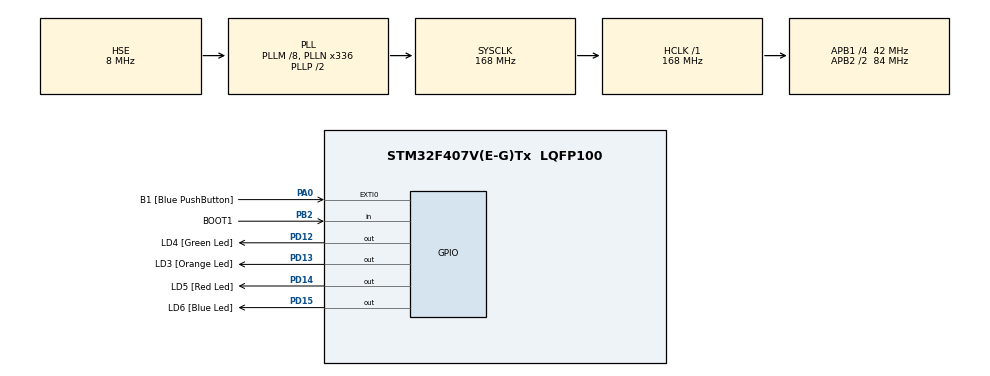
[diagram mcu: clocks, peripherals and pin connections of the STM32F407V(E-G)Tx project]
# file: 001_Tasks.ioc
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Mcu.Family=STM32F4
Mcu.Name=STM32F407V(E-G)Tx
Mcu.Package=LQFP100
NVIC.PriorityGroup=NVIC_PRIORITYGROUP_4
NVIC.TIM6_DAC_IRQn=true\:0\:0\:false\:false\:true\:false\:true\:true
NVIC.TimeBase=TIM6_DAC_IRQn
NVIC.TimeBaseIP=TIM6
PA0-WKUP.GPIO_Label=B1 [Blue PushButton]
PA0-WKUP.GPIO_ModeDefaultEXTI=GPIO_MODE_EVT_RISING
PA0-WKUP.GPIO_PuPd=GPIO_NOPULL
PA0-WKUP.Signal=GPXTI0
PA13.GPIO_Label=SWDIO
PA13.Mode=Trace_Asynchronous_SW
PA13.Signal=SYS_JTMS-SWDIO
PA14.GPIO_Label=SWCLK
PA14.Mode=Trace_Asynchronous_SW
PA14.Signal=SYS_JTCK-SWCLK
PB2.GPIO_Label=BOOT1
PB2.GPIO_Mode=GPIO_MODE_INPUT
PB2.GPIO_PuPd=GPIO_NOPULL
PB2.Signal=GPIO_Input
PB3.GPIO_Label=SWO
PB3.Mode=Trace_Asynchronous_SW
PB3.Signal=SYS_JTDO-SWO
PC14-OSC32_IN.GPIO_Label=PC14-OSC32_IN
PC14-OSC32_IN.Mode=LSE-External-Oscillator
PC14-OSC32_IN.Signal=RCC_OSC32_IN
PC15-OSC32_OUT.GPIO_Label=PC15-OSC32_OUT
PC15-OSC32_OUT.Mode=LSE-External-Oscillator
PC15-OSC32_OUT.Signal=RCC_OSC32_OUT
PD12.GPIO_Label=LD4 [Green Led]
PD12.GPIO_PuPd=GPIO_NOPULL
PD12.GPIO_Speed=GPIO_SPEED_FREQ_LOW
PD12.Signal=GPIO_Output
PD13.GPIO_Label=LD3 [Orange Led]
PD13.GPIO_PuPd=GPIO_NOPULL
PD13.GPIO_Speed=GPIO_SPEED_FREQ_LOW
PD13.Signal=GPIO_Output
PD14.GPIO_Label=LD5 [Red Led]
PD14.GPIO_PuPd=GPIO_NOPULL
PD14.GPIO_Speed=GPIO_SPEED_FREQ_LOW
PD14.Signal=GPIO_Output
PD15.GPIO_Label=LD6 [Blue Led]
PD15.GPIO_PuPd=GPIO_NOPULL
PD15.GPIO_Speed=GPIO_SPEED_FREQ_LOW
PD15.Signal=GPIO_Output
PH0-OSC_IN.GPIO_Label=PH0-OSC_IN
PH0-OSC_IN.Mode=HSE-External-Oscillator
PH0-OSC_IN.Signal=RCC_OSC_IN
PH1-OSC_OUT.GPIO_Label=PH1-OSC_OUT
PH1-OSC_OUT.Mode=HSE-External-Oscillator
PH1-OSC_OUT.Signal=RCC_OSC_OUT
ProjectManager.HeapSize=0x200
ProjectManager.StackSize=0x400
ProjectManager.TargetToolchain=CMake
RCC.48MHZClocksFreq_Value=48000000
RCC.AHBFreq_Value=168000000
RCC.APB1CLKDivider=RCC_HCLK_DIV4
RCC.APB1Freq_Value=42000000
RCC.APB1TimFreq_Value=84000000
RCC.APB2CLKDivider=RCC_HCLK_DIV2
RCC.APB2Freq_Value=84000000
RCC.APB2TimFreq_Value=168000000
RCC.CortexFreq_Value=168000000
RCC.HCLKFreq_Value=168000000
RCC.HSE_VALUE=8000000
RCC.HSI_VALUE=16000000
RCC.PLLM=8
RCC.PLLN=336
RCC.PLLQ=7
RCC.PLLSourceVirtual=RCC_PLLSOURCE_HSE
RCC.SYSCLKFreq_VALUE=168000000
RCC.SYSCLKSource=RCC_SYSCLKSOURCE_PLLCLK
RCC.VCOOutputFreq_Value=336000000
VP_SYS_VS_tim6.Mode=TIM6
board=STM32F407G-DISC1

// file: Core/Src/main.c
/* USER CODE BEGIN Header */
/**
  ******************************************************************************
  * @file           : main.c
  * @brief          : Main program body
  ******************************************************************************
  * @attention
  *
  * Copyright (c) 2026 STMicroelectronics.
  * All rights reserved.
  *
  * This software is licensed under terms that can be found in the LICENSE file
  * in the root directory of this software component.
  * If no LICENSE file comes with this software, it is provided AS-IS.
  *
  ******************************************************************************
  */
/* USER CODE END Header */
#include "main.h"

/* USER CODE BEGIN Includes */
#include <stdio.h>
#include "FreeRTOS.h"
#include "task.h"
/* USER CODE END Includes */

void SystemClock_Config(void);
static void MX_GPIO_Init(void);
/* USER CODE BEGIN PFP */
static void task1_handler(void* params);
static void task2_handler(void* params);
/* USER CODE END PFP */

int main(void)
{

  /* USER CODE BEGIN 1 */
  TaskHandle_t task1_handle;
  TaskHandle_t task2_handle;
  BaseType_t status = pdFALSE;
  /* USER CODE END 1 */

  /* MCU Configuration--------------------------------------------------------*/

  /* Reset of all peripherals, Initializes the Flash interface and the Systick. */
  HAL_Init();

  /* Configure the system clock */
  SystemClock_Config();

  /* USER CODE BEGIN SysInit */
  DWT->CTRL |= ( 1 << 0);
  /* USER CODE END SysInit */

  /* Initialize all configured peripherals */
  MX_GPIO_Init();
  /* USER CODE BEGIN 2 */

  SEGGER_SYSVIEW_Conf();
  SEGGER_SYSVIEW_Start();

  status = xTaskCreate(task1_handler, "Task1", 200, "Hello world from Task-1", 2, &task1_handle);
  configASSERT(status == pdPASS);

  status = xTaskCreate(task2_handler, "Task2", 200, "Hello world from Task-2", 2, &task2_handle);
  configASSERT(status == pdPASS);

  // Start the FreeRTOS scheduler
  vTaskStartScheduler();
  // We will never return unless there is insufficient memory in the heap.

  /* USER CODE END 2 */

  /* Infinite loop */
  while (1)
  {

  }
}

void SystemClock_Config(void)
{
  RCC_OscInitTypeDef RCC_OscInitStruct = {0};
  RCC_ClkInitTypeDef RCC_ClkInitStruct = {0};

  /** Configure the main internal regulator output voltage
  */
  __HAL_RCC_PWR_CLK_ENABLE();
  __HAL_PWR_VOLTAGESCALING_CONFIG(PWR_REGULATOR_VOLTAGE_SCALE1);

  /** Initializes the RCC Oscillators according to the specified parameters
  * in the RCC_OscInitTypeDef structure.
  */
  RCC_OscInitStruct.OscillatorType = RCC_OSCILLATORTYPE_HSE;
  RCC_OscInitStruct.HSEState = RCC_HSE_ON;
  RCC_OscInitStruct.PLL.PLLState = RCC_PLL_ON;
  RCC_OscInitStruct.PLL.PLLSource = RCC_PLLSOURCE_HSE;
  RCC_OscInitStruct.PLL.PLLM = 8;
  RCC_OscInitStruct.PLL.PLLN = 336;
  RCC_OscInitStruct.PLL.PLLP = RCC_PLLP_DIV2;
  RCC_OscInitStruct.PLL.PLLQ = 7;
  if (HAL_RCC_OscConfig(&RCC_OscInitStruct) != HAL_OK)
  {
    Error_Handler();
  }

  /** Initializes the CPU, AHB and APB buses clocks
  */
  RCC_ClkInitStruct.ClockType = RCC_CLOCKTYPE_HCLK|RCC_CLOCKTYPE_SYSCLK
                              |RCC_CLOCKTYPE_PCLK1|RCC_CLOCKTYPE_PCLK2;
  RCC_ClkInitStruct.SYSCLKSource = RCC_SYSCLKSOURCE_PLLCLK;
  RCC_ClkInitStruct.AHBCLKDivider = RCC_SYSCLK_DIV1;
  RCC_ClkInitStruct.APB1CLKDivider = RCC_HCLK_DIV4;
  RCC_ClkInitStruct.APB2CLKDivider = RCC_HCLK_DIV2;

  if (HAL_RCC_ClockConfig(&RCC_ClkInitStruct, FLASH_LATENCY_5) != HAL_OK)
  {
    Error_Handler();
  }
}

static void MX_GPIO_Init(void)
{
  GPIO_InitTypeDef GPIO_InitStruct = {0};

  /* GPIO Ports Clock Enable */
  __HAL_RCC_GPIOC_CLK_ENABLE();
  __HAL_RCC_GPIOH_CLK_ENABLE();
  __HAL_RCC_GPIOA_CLK_ENABLE();
  __HAL_RCC_GPIOB_CLK_ENABLE();
  __HAL_RCC_GPIOD_CLK_ENABLE();

  /*Configure GPIO pin Output Level */
  HAL_GPIO_WritePin(GPIOD, LD4_Pin|LD3_Pin|LD5_Pin|LD6_Pin, GPIO_PIN_RESET);

  /*Configure GPIO pin : B1_Pin */
  GPIO_InitStruct.Pin = B1_Pin;
  GPIO_InitStruct.Mode = GPIO_MODE_EVT_RISING;
  GPIO_InitStruct.Pull = GPIO_NOPULL;
  HAL_GPIO_Init(B1_GPIO_Port, &GPIO_InitStruct);

  /*Configure GPIO pin : BOOT1_Pin */
  GPIO_InitStruct.Pin = BOOT1_Pin;
  GPIO_InitStruct.Mode = GPIO_MODE_INPUT;
  GPIO_InitStruct.Pull = GPIO_NOPULL;
  HAL_GPIO_Init(BOOT1_GPIO_Port, &GPIO_InitStruct);

  /*Configure GPIO pins : LD4_Pin LD3_Pin LD5_Pin LD6_Pin */
  GPIO_InitStruct.Pin = LD4_Pin|LD3_Pin|LD5_Pin|LD6_Pin;
  GPIO_InitStruct.Mode = GPIO_MODE_OUTPUT_PP;
  GPIO_InitStruct.Pull = GPIO_NOPULL;
  GPIO_InitStruct.Speed = GPIO_SPEED_FREQ_LOW;
  HAL_GPIO_Init(GPIOD, &GPIO_InitStruct);

}

/* USER CODE BEGIN 4 */

static void task1_handler(void* params)
{
  while (1)
  {
    printf("%s\n",(char *)params);
    taskYIELD();
  }
}

static void task2_handler(void* params)
{
  while (1)
  {
    printf("%s\n",(char *)params);
    taskYIELD();
  }
}

/* USER CODE END 4 */

void HAL_TIM_PeriodElapsedCallback(TIM_HandleTypeDef *htim)
{
  if (htim->Instance == TIM6)
  {
    HAL_IncTick();
  }
}

void Error_Handler(void)
{
  __disable_irq();
  while (1)
  {
  }
}
